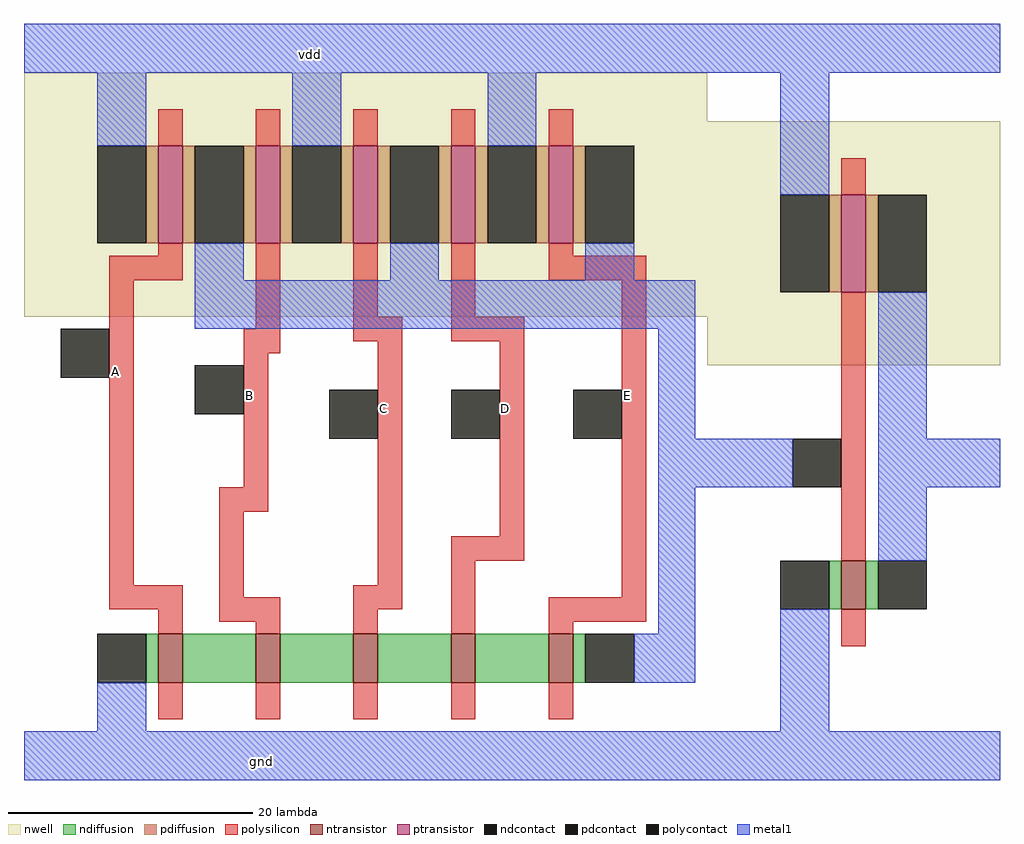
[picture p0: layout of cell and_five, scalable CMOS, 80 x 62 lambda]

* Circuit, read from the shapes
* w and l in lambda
.subckt and_five A B C D E gnd vdd
M1 n1 A gnd VSUBS nfet w=4 l=2
M2 n2 B n1 VSUBS nfet w=4 l=2
M3 n3 C n2 VSUBS nfet w=4 l=2
M4 n4 D n3 VSUBS nfet w=4 l=2
M5 inverter_0/INP E n4 VSUBS nfet w=4 l=2
M6 inverter_0/Inv_out inverter_0/INP gnd VSUBS nfet w=4 l=2
M7 inverter_0/INP A vdd n5 pfet w=8 l=2
M8 vdd B inverter_0/INP n5 pfet w=8 l=2
M9 inverter_0/INP C vdd n5 pfet w=8 l=2
M10 vdd D inverter_0/INP n5 pfet w=8 l=2
M11 inverter_0/INP E vdd n5 pfet w=8 l=2
M12 inverter_0/Inv_out inverter_0/INP vdd n5 pfet w=8 l=2
.ends

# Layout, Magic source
magic
tech scmos
<< nwell >>
rect 80 38 136 58
<< ntransistor >>
rect 91 8 93 12
rect 99 8 101 12
rect 107 8 109 12
rect 115 8 117 12
rect 123 8 125 12
<< ptransistor >>
rect 91 44 93 52
rect 99 44 101 52
rect 107 44 109 52
rect 115 44 117 52
rect 123 44 125 52
<< ndiffusion >>
rect 90 8 91 12
rect 93 8 99 12
rect 101 8 107 12
rect 109 8 115 12
rect 117 8 123 12
rect 125 8 126 12
<< pdiffusion >>
rect 90 44 91 52
rect 93 44 94 52
rect 98 44 99 52
rect 101 44 102 52
rect 106 44 107 52
rect 109 44 110 52
rect 114 44 115 52
rect 117 44 118 52
rect 122 44 123 52
rect 125 44 126 52
<< ndcontact >>
rect 86 8 90 12
rect 126 8 130 12
<< pdcontact >>
rect 86 44 90 52
rect 94 44 98 52
rect 102 44 106 52
rect 110 44 114 52
rect 118 44 122 52
rect 126 44 130 52
<< polysilicon >>
rect 91 52 93 55
rect 99 52 101 55
rect 107 52 109 55
rect 115 52 117 55
rect 123 52 125 55
rect 91 43 93 44
rect 87 41 93 43
rect 87 16 89 41
rect 99 37 101 44
rect 98 35 101 37
rect 107 38 109 44
rect 115 38 117 44
rect 123 43 125 44
rect 123 41 131 43
rect 107 36 111 38
rect 115 36 121 38
rect 98 24 100 35
rect 96 22 100 24
rect 87 14 93 16
rect 91 12 93 14
rect 96 15 98 22
rect 109 16 111 36
rect 119 20 121 36
rect 96 13 101 15
rect 99 12 101 13
rect 107 14 111 16
rect 115 18 121 20
rect 107 12 109 14
rect 115 12 117 18
rect 129 15 131 41
rect 123 13 131 15
rect 123 12 125 13
rect 91 5 93 8
rect 99 5 101 8
rect 107 5 109 8
rect 115 5 117 8
rect 123 5 125 8
<< polycontact >>
rect 83 33 87 37
rect 94 30 98 34
rect 105 28 109 32
rect 115 28 119 32
rect 125 28 129 32
<< metal1 >>
rect 80 58 136 62
rect 86 52 90 58
rect 102 52 106 58
rect 118 52 122 58
rect 94 41 98 44
rect 110 41 114 44
rect 126 41 130 44
rect 94 37 135 41
rect 132 28 135 37
rect 132 24 137 28
rect 132 12 135 24
rect 130 8 135 12
rect 86 4 90 8
rect 80 0 136 4
use inverter  inverter_0
transform 1 0 136 0 1 34
box 0 -34 24 28
<< labels >>
rlabel metal1 103 59 104 60 5 vdd
rlabel metal1 99 1 100 2 1 gnd
rlabel polysilicon 87 33 88 34 1 A
rlabel polysilicon 98 31 99 32 1 B
rlabel polysilicon 109 30 110 31 1 C
rlabel polysilicon 119 30 120 31 1 D
rlabel polysilicon 129 31 130 32 1 E
<< end >>

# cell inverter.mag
magic
tech scmos
<< nwell >>
rect 0 0 24 20
<< ntransistor >>
rect 11 -20 13 -16
<< ptransistor >>
rect 11 6 13 14
<< ndiffusion >>
rect 10 -20 11 -16
rect 13 -20 14 -16
<< pdiffusion >>
rect 10 6 11 14
rect 13 6 14 14
<< ndcontact >>
rect 6 -20 10 -16
rect 14 -20 18 -16
<< pdcontact >>
rect 6 6 10 14
rect 14 6 18 14
<< polysilicon >>
rect 11 14 13 17
rect 11 -16 13 6
rect 11 -23 13 -20
<< polycontact >>
rect 7 -10 11 -6
<< metal1 >>
rect 0 24 24 28
rect 6 14 10 24
rect 14 -6 18 6
rect 0 -10 7 -6
rect 14 -10 24 -6
rect 14 -16 18 -10
rect 6 -30 10 -20
rect 0 -34 24 -30
<< labels >>
rlabel metal1 3 -9 4 -8 3 INP
rlabel metal1 14 -31 15 -30 1 gnd
rlabel metal1 13 25 14 26 5 vdd
rlabel metal1 17 -9 18 -8 1 Inv_out
<< end >>
